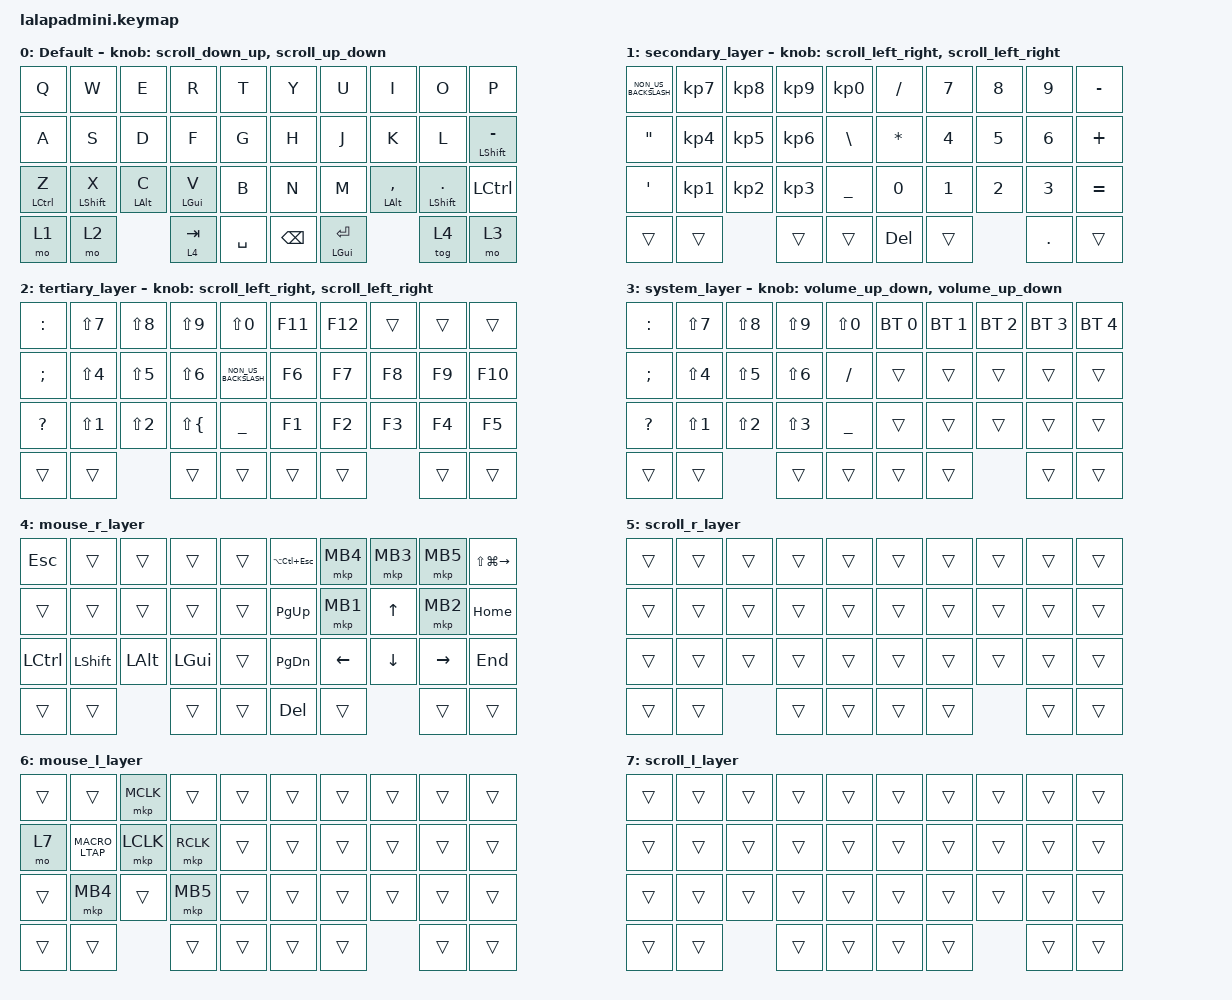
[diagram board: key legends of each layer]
#include <input/processors.dtsi>
#include <behaviors.dtsi>
#include <dt-bindings/zmk/bt.h>
#include <dt-bindings/zmk/keys.h>
#include <dt-bindings/zmk/pointing.h>

#define DEFAULT_LAYER   0
#define SECONDARY_LAYER 1
#define TERTIARY_LAYER  2
#define SYSTEM_LAYER    3
#define MOUSE_R_LAYER   4
#define SCROLL_R_LAYER  5
#define MOUSE_L_LAYER   6
#define SCROLL_L_LAYER  7

// Mouse Scroll Value

#define ZMK_POINTING_DEFAULT_SCRL_VAL 100

// cirque trackpad input&layer control

&glidepoint_listener_R {
    input-processors =
        <&zip_xy_transform (INPUT_TRANSFORM_XY_SWAP | INPUT_TRANSFORM_X_INVERT | INPUT_TRANSFORM_Y_INVERT)>,
        <&zip_xy_scaler 3 2>;

    //<&zip_temp_layer MOUSE_R_LAYER 300>;

    lowspeedmode {
        layers = <SECONDARY_LAYER>;
        input-processors =
            <&zip_xy_transform (INPUT_TRANSFORM_XY_SWAP | INPUT_TRANSFORM_X_INVERT | INPUT_TRANSFORM_Y_INVERT)>,
            <&zip_xy_scaler 3 5>;

        //<&zip_temp_layer MOUSE_R_LAYER 300>;
    };

    scroller {
        layers = <SCROLL_R_LAYER>;
        input-processors =
            <&zip_xy_to_scroll_mapper>,
            <&zip_scroll_transform (INPUT_TRANSFORM_XY_SWAP | INPUT_TRANSFORM_Y_INVERT)>,
            <&zip_scroll_scaler 1 32>;
    };
};

&glidepoint_listener_L {
    input-processors =
        <&zip_xy_transform (INPUT_TRANSFORM_XY_SWAP | INPUT_TRANSFORM_X_INVERT | INPUT_TRANSFORM_Y_INVERT)>,
        <&zip_xy_scaler 3 2>;

    //<&zip_temp_layer MOUSE_L_LAYER 300>;

    lowspeedmode {
        layers = <TERTIARY_LAYER>;
        input-processors =
            <&zip_xy_transform (INPUT_TRANSFORM_XY_SWAP | INPUT_TRANSFORM_X_INVERT | INPUT_TRANSFORM_Y_INVERT)>,
            <&zip_xy_scaler 3 4>;

        //<&zip_temp_layer MOUSE_L_LAYER 300>;
    };

    scroller {
        layers = <SCROLL_L_LAYER>;
        input-processors =
            <&zip_xy_to_scroll_mapper>,
            <&zip_scroll_transform (INPUT_TRANSFORM_XY_SWAP | INPUT_TRANSFORM_Y_INVERT)>,
            <&zip_scroll_scaler 1 32>;
    };
};

&mt { quick-tap-ms = <200>; };

&lt { quick-tap-ms = <200>; };

/ {
    behaviors {
        // Encoder to Mouse Scroll

        scroll_up_down: behavior_sensor_rotate_mouse_wheel_up_down {
            compatible = "zmk,behavior-sensor-rotate";
            #sensor-binding-cells = <0>;
            bindings = <&msc SCRL_UP>, <&msc SCRL_DOWN>;

            tap-ms = <20>;
        };

        scroll_down_up: behavior_sensor_rotate_mouse_wheel_down_up {
            compatible = "zmk,behavior-sensor-rotate";
            #sensor-binding-cells = <0>;
            bindings = <&msc SCRL_DOWN>, <&msc SCRL_UP>;

            tap-ms = <20>;
        };

        scroll_left_right: behavior_sensor_rotate_mouse_wheel_left_right {
            compatible = "zmk,behavior-sensor-rotate";
            #sensor-binding-cells = <0>;
            bindings = <&msc SCRL_LEFT>, <&msc SCRL_RIGHT>;

            tap-ms = <20>;
        };

        scroll_right_left: behavior_sensor_rotate_mouse_wheel_right_left {
            compatible = "zmk,behavior-sensor-rotate";
            #sensor-binding-cells = <0>;
            bindings = <&msc SCRL_RIGHT>, <&msc SCRL_LEFT>;

            tap-ms = <20>;
        };

        volume_up_down: behavior_sensor_rotate_volume_up_down {
            compatible = "zmk,behavior-sensor-rotate";
            #sensor-binding-cells = <0>;
            bindings = <&kp C_VOLUME_UP>, <&kp C_VOLUME_DOWN>;

            tap-ms = <20>;
        };

        mt2: mod_tap2 {
            compatible = "zmk,behavior-hold-tap";
            #binding-cells = <2>;
            flavor = "tap-preferred";
            tapping-term-ms = <200>;
            quick-tap-ms = <150>;
            require-prior-idle-ms = <20>;
            bindings = <&kp>, <&kp>;
        };

        tap_dance_layer_1and2: tap_dance_layer_1and2 {
            compatible = "zmk,behavior-tap-dance";
            label = "td_mo12";
            #binding-cells = <0>;
            bindings = <&mo 1>, <&mo 2>;
        };
    };

    combos {
        compatible = "zmk,combos";

        lang1 {
            bindings = <&kp LANG1>;
            key-positions = <16 17>;
        };

        lang2 {
            bindings = <&kp LANG2>;
            key-positions = <12 13>;
        };
    };

    macros {
        MACRO_LTAP: MACRO_LTAP {
            compatible = "zmk,behavior-macro";
            #binding-cells = <0>;
            bindings = <&mkp LCLK>;
            label = "MACRO_LTAP";
        };
    };

    keymap {
        compatible = "zmk,keymap";

        DEFAULT_LAYER {
            display-name = "Default";
            sensor-bindings = <&scroll_down_up>, <&scroll_up_down>;

            bindings = <
&kp Q                &kp W              &kp E            &kp R            &kp T      &kp Y          &kp U                 &kp I                &kp O                   &kp P
&kp A                &kp S              &kp D            &kp F            &kp G      &kp H          &kp J                 &kp K                &kp L                   &mt2 LEFT_SHIFT MINUS
&mt2 LEFT_CONTROL Z  &mt2 LEFT_SHIFT X  &mt2 LEFT_ALT C  &mt2 LEFT_GUI V  &kp B      &kp N          &kp M                 &mt2 LEFT_ALT COMMA  &mt2 LEFT_SHIFT PERIOD  &kp LEFT_CONTROL
&mo 1                &mo 2                               &lt 4 TAB        &kp SPACE  &kp BACKSPACE  &mt2 LEFT_GUI RETURN                       &tog 4                  &mo 3
            >;
        };

        SECONDARY_LAYER {
            display-name = "secondary_layer";
            sensor-bindings = <&scroll_left_right>, <&scroll_left_right>;

            bindings = <
&kp NON_US_BACKSLASH  &kp KP_NUMBER_7  &kp KP_NUMBER_8  &kp KP_NUMBER_9  &kp KP_NUMBER_0  &kp SLASH   &kp N7        &kp N8        &kp N9        &kp MINUS
&kp DOUBLE_QUOTES     &kp KP_NUMBER_4  &kp KP_NUMBER_5  &kp KP_NUMBER_6  &kp BACKSLASH    &kp ASTRK   &kp NUMBER_4  &kp N5        &kp NUMBER_6  &kp PLUS
&kp SQT               &kp KP_NUMBER_1  &kp KP_NUMBER_2  &kp KP_NUMBER_3  &kp UNDERSCORE   &kp N0      &kp NUMBER_1  &kp NUMBER_2  &kp NUMBER_3  &kp EQUAL
&trans                &trans                            &trans           &trans           &kp DELETE  &trans                      &kp PERIOD    &trans
            >;
        };

        TERTIARY_LAYER {
            display-name = "tertiary_layer";
            bindings = <
&kp COLON      &kp LS(N7)        &kp LS(N8)        &kp LS(N9)          &kp LS(N0)            &kp F11  &kp F12  &trans  &trans  &trans
&kp SEMICOLON  &kp LS(N4)        &kp LS(N5)        &kp LS(NUMBER_6)    &kp NON_US_BACKSLASH  &kp F6   &kp F7   &kp F8  &kp F9  &kp F10
&kp QUESTION   &kp LS(NUMBER_1)  &kp LS(NUMBER_2)  &kp LS(LEFT_BRACE)  &kp UNDERSCORE        &kp F1   &kp F2   &kp F3  &kp F4  &kp F5
&trans         &trans                              &trans              &trans                &trans   &trans           &trans  &trans
            >;

            sensor-bindings = <&scroll_left_right>, <&scroll_left_right>;
        };

        SYSTEM_LAYER {
            display-name = "system_layer";
            sensor-bindings = <&volume_up_down>, <&volume_up_down>;

            bindings = <
&kp COLON      &kp LS(N7)        &kp LS(N8)        &kp LS(N9)        &kp LS(N0)      &bt BT_SEL 0  &bt BT_SEL 1  &bt BT_SEL 2  &bt BT_SEL 3  &bt BT_SEL 4
&kp SEMICOLON  &kp LS(NUMBER_4)  &kp LS(N5)        &kp LS(NUMBER_6)  &kp SLASH       &trans        &trans        &trans        &trans        &trans
&kp QUESTION   &kp LS(NUMBER_1)  &kp LS(NUMBER_2)  &kp LS(NUMBER_3)  &kp UNDERSCORE  &trans        &trans        &trans        &trans        &trans
&trans         &trans                              &trans            &trans          &trans        &trans                      &trans        &trans
            >;
        };

        MOUSE_R_LAYER {
            display-name = "mouse_r_layer";
            bindings = <
&kp ESCAPE        &trans          &trans        &trans        &trans  &kp LA(LC(ESCAPE))  &mkp MB4  &mkp MB3      &mkp MB5   &kp LS(LG(RIGHT))
&trans            &trans          &trans        &trans        &trans  &kp PAGE_UP         &mkp MB1  &kp UP_ARROW  &mkp MB2   &kp HOME
&kp LEFT_CONTROL  &kp LEFT_SHIFT  &kp LEFT_ALT  &kp LEFT_GUI  &trans  &kp PAGE_DOWN       &kp LEFT  &kp DOWN      &kp RIGHT  &kp END
&trans            &trans                        &trans        &trans  &kp DELETE          &trans                  &trans     &trans
            >;
        };

        SCROLL_R_LAYER {
            display-name = "scroll_r_layer";
            bindings = <
&trans  &trans  &trans  &trans  &trans  &trans  &trans  &trans  &trans  &trans
&trans  &trans  &trans  &trans  &trans  &trans  &trans  &trans  &trans  &trans
&trans  &trans  &trans  &trans  &trans  &trans  &trans  &trans  &trans  &trans
&trans  &trans          &trans  &trans  &trans  &trans          &trans  &trans
            >;
        };

        MOUSE_L_LAYER {
            display-name = "mouse_l_layer";
            bindings = <
&trans  &trans       &mkp MCLK  &trans     &trans  &trans  &trans  &trans  &trans  &trans
&mo 7   &MACRO_LTAP  &mkp LCLK  &mkp RCLK  &trans  &trans  &trans  &trans  &trans  &trans
&trans  &mkp MB4     &trans     &mkp MB5   &trans  &trans  &trans  &trans  &trans  &trans
&trans  &trans                  &trans     &trans  &trans  &trans          &trans  &trans
            >;
        };

        SCROLL_L_LAYER {
            display-name = "scroll_l_layer";
            bindings = <
&trans  &trans  &trans  &trans  &trans  &trans  &trans  &trans  &trans  &trans
&trans  &trans  &trans  &trans  &trans  &trans  &trans  &trans  &trans  &trans
&trans  &trans  &trans  &trans  &trans  &trans  &trans  &trans  &trans  &trans
&trans  &trans          &trans  &trans  &trans  &trans          &trans  &trans
            >;
        };
    };

    //conditional_layers {
    //compatible = "zmk,conditional-layers";
    //System_layer {
    //if-layers = <1 2>;
    //then-layer = <3>;
    //};
    //};
};
